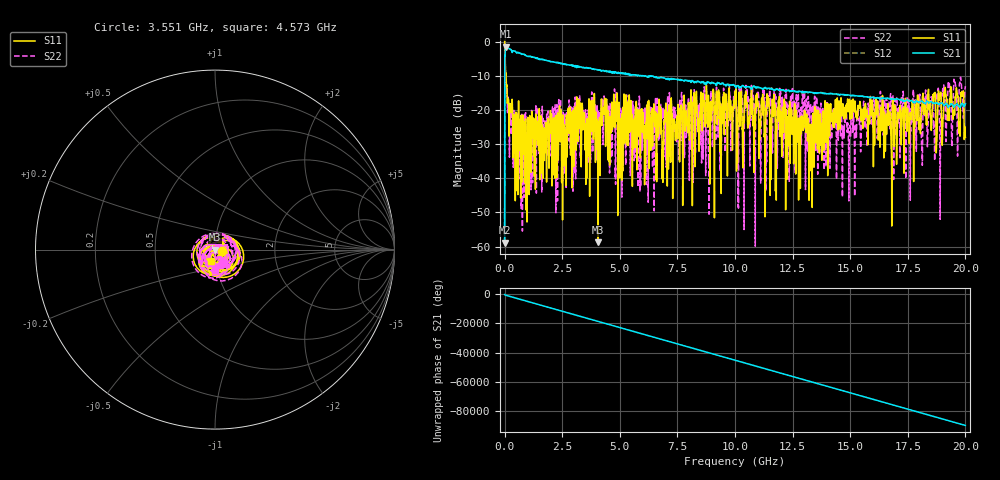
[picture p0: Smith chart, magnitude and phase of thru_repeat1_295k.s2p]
! MS46122B
! 2250307/22442219
! 8/4/2025 1:36:03 PM
! C:\USERS\SPARKY\DOCUMENTS\VNA_DATA\AUGUST4_2025\295K\THRU_REPEAT1.S2P
! CHANNEL.1
! TR.MEASUREMENT
! RAW.DATA
# GHZ S RI R 50.0
! FREQ.GHZ  S11RE  S11IM  S21RE  S21IM  S12RE  S12IM  S22RE  S22IM
!; PortSelection: Port_12
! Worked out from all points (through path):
!   10001 points, 1 MHz to 20 GHz, reference 50 ohm
!   highest |S21| = -1.44 dB at 45 MHz (marker M1); lowest = -58.9 dB at 1 MHz (marker M2)
!   lowest |S11| = -58.8 dB at 4.065 GHz (marker M3), VSWR 1.00, Z = 49.9 - j0.0409 ohm
!   |S11| at or under -10 dB: 65.23 MHz to end of sweep
!   |S22| runs from -59.9 to -0.1 dB; largest |S21 - S12| = 0.062
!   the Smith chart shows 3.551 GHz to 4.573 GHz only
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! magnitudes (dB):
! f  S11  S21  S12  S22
! 1 MHz  0.4  -58.9  -59.1  -0.1
! 45 MHz  -10.0  -1.4  -1.8  -11.4
! 111 MHz  -15.9  -1.8  -1.8  -14.6
! 453 MHz  -25.9  -2.8  -2.8  -27.3
! 1.025 GHz  -25.9  -4.3  -4.3  -23.3
! 3.335 GHz  -31.4  -7.4  -7.4  -18.1
! 4.065 GHz  -58.8  -8.2  -8.2  -27.0
! 4.269 GHz  -19.5  -8.5  -8.4  -27.0
! 5.003 GHz  -25.8  -9.1  -9.1  -23.7
! 5.243 GHz  -21.1  -9.2  -9.2  -25.0
! 6.669 GHz  -23.0  -10.5  -10.6  -20.2
! 10 GHz  -15.0  -13.1  -12.9  -16.8
! 10.16 GHz  -19.4  -12.9  -13.1  -27.4
! 10.51 GHz  -19.2  -13.1  -13.3  -15.3
! 13.03 GHz  -20.5  -14.6  -14.8  -16.2
! 13.33 GHz  -32.0  -14.8  -14.7  -26.5
! 14.6 GHz  -16.4  -15.4  -15.8  -19.5
! 16.67 GHz  -24.3  -16.6  -16.6  -17.7
! 18.15 GHz  -15.6  -17.5  -17.6  -26.8
! 19.6 GHz  -14.0  -18.4  -18.1  -13.4
! 19.88 GHz  -15.1  -18.1  -18.3  -18.4
! 20 GHz  -28.0  -18.2  -18.6  -13.0
